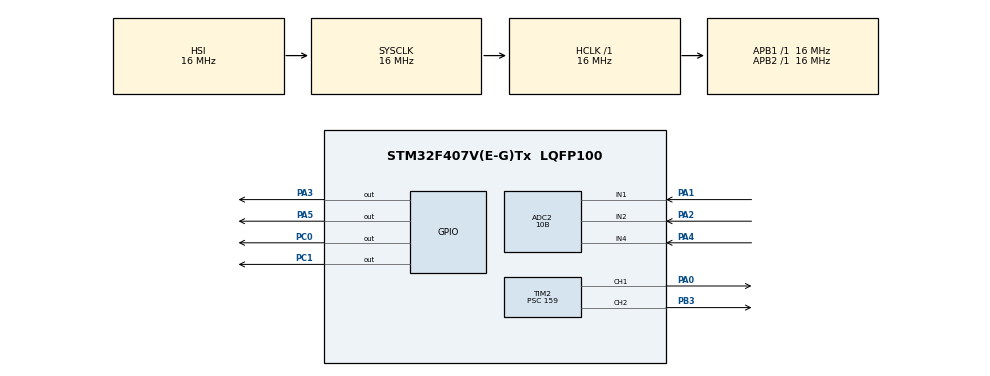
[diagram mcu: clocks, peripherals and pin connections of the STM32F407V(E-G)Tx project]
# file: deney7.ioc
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ADC2.Channel-0\#ChannelRegularConversion=ADC_CHANNEL_1
ADC2.Channel-1\#ChannelRegularConversion=ADC_CHANNEL_2
ADC2.Channel-2\#ChannelRegularConversion=ADC_CHANNEL_4
ADC2.ContinuousConvMode=ENABLE
ADC2.DMAContinuousRequests=ENABLE
ADC2.NbrOfConversion=3
ADC2.NbrOfConversionFlag=1
ADC2.Rank-0\#ChannelRegularConversion=1
ADC2.Rank-1\#ChannelRegularConversion=2
ADC2.Rank-2\#ChannelRegularConversion=3
ADC2.Resolution=ADC_RESOLUTION_10B
ADC2.SamplingTime-0\#ChannelRegularConversion=ADC_SAMPLETIME_480CYCLES
ADC2.SamplingTime-1\#ChannelRegularConversion=ADC_SAMPLETIME_480CYCLES
ADC2.SamplingTime-2\#ChannelRegularConversion=ADC_SAMPLETIME_480CYCLES
Mcu.Family=STM32F4
Mcu.Name=STM32F407V(E-G)Tx
Mcu.Package=LQFP100
NVIC.ADC_IRQn=true\:0\:0\:false\:false\:true\:true
NVIC.PriorityGroup=NVIC_PRIORITYGROUP_4
PA0-WKUP.Signal=S_TIM2_CH1_ETR
PA1.Signal=ADCx_IN1
PA2.Signal=ADCx_IN2
PA3.Signal=GPIO_Output
PA4.Signal=ADCx_IN4
PA5.Signal=GPIO_Output
PB3.Signal=S_TIM2_CH2
PC0.Signal=GPIO_Output
PC1.Signal=GPIO_Output
ProjectManager.HeapSize=0x200
ProjectManager.StackSize=0x400
ProjectManager.TargetToolchain=MDK-ARM V5
RCC.AHBFreq_Value=16000000
RCC.APB1Freq_Value=16000000
RCC.APB2Freq_Value=16000000
RCC.CortexFreq_Value=16000000
RCC.HSE_VALUE=25000000
RCC.HSI_VALUE=16000000
RCC.LSE_VALUE=32768
RCC.SYSCLKFreq_VALUE=16000000
RCC.VCOOutputFreq_Value=192000000
SH.ADCx_IN1.0=ADC2_IN1,IN1
SH.ADCx_IN2.0=ADC2_IN2,IN2
SH.ADCx_IN4.0=ADC2_IN4,IN4
SH.S_TIM2_CH1_ETR.0=TIM2_CH1,PWM Generation1 CH1
SH.S_TIM2_CH2.0=TIM2_CH2,PWM Generation2 CH2
TIM2.Channel-PWM\ Generation1\ CH1=TIM_CHANNEL_1
TIM2.Channel-PWM\ Generation2\ CH2=TIM_CHANNEL_2
TIM2.Period=99
TIM2.Prescaler=159
TIM2.Pulse-PWM\ Generation1\ CH1=100
TIM2.Pulse-PWM\ Generation2\ CH2=100
VP_TIM2_VS_ClockSourceINT.Mode=Internal
board=custom

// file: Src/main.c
/* USER CODE BEGIN Header */
/**
  ********** ********************************************************************
  * @file           : main.c
  * @brief          : Main program body
  ******************************************************************************
  ** This notice applies to any and all portions of this file
  * that are not between comment pairs USER CODE BEGIN and
  * USER CODE END. Other portions of this file, whether
  * inserted by the user or by software development tools
  * are owned by their respective copyright owners.
  *
  * COPYRIGHT(c) 2019 STMicroelectronics
  *
  * Redistribution and use in source and binary forms, with or without modification,
  * are permitted provided that the following conditions are met:
  *   1. Redistributions of source code must retain the above copyright notice,
  *      this list of conditions and the following disclaimer.
  *   2. Redistributions in binary form must reproduce the above copyright notice,
  *      this list of conditions and the following disclaimer in the documentation
  *      and/or other materials provided with the distribution.
  *   3. Neither the name of STMicroelectronics nor the names of its contributors
  *      may be used to endorse or promote products derived from this software
  *      without specific prior written permission.
  *
  * THIS SOFTWARE IS PROVIDED BY THE COPYRIGHT HOLDERS AND CONTRIBUTORS "AS IS"
  * AND ANY EXPRESS OR IMPLIED WARRANTIES, INCLUDING, BUT NOT LIMITED TO, THE
  * IMPLIED WARRANTIES OF MERCHANTABILITY AND FITNESS FOR A PARTICULAR PURPOSE ARE
  * DISCLAIMED. IN NO EVENT SHALL THE COPYRIGHT HOLDER OR CONTRIBUTORS BE LIABLE
  * FOR ANY DIRECT, INDIRECT, INCIDENTAL, SPECIAL, EXEMPLARY, OR CONSEQUENTIAL
  * DAMAGES (INCLUDING, BUT NOT LIMITED TO, PROCUREMENT OF SUBSTITUTE GOODS OR
  * SERVICES; LOSS OF USE, DATA, OR PROFITS; OR BUSINESS INTERRUPTION) HOWEVER
  * CAUSED AND ON ANY THEORY OF LIABILITY, WHETHER IN CONTRACT, STRICT LIABILITY,
  * OR TORT (INCLUDING NEGLIGENCE OR OTHERWISE) ARISING IN ANY WAY OUT OF THE USE
  * OF THIS SOFTWARE, EVEN IF ADVISED OF THE POSSIBILITY OF SUCH DAMAGE.
  *
  ******************************************************************************
  */
/* USER CODE END Header */

#include "main.h"

ADC_HandleTypeDef hadc2;

TIM_HandleTypeDef htim2;

/* USER CODE BEGIN PV */
uint16_t adc_valueRight;
uint16_t adc_valueLeft;
uint16_t adc_valueForword;
uint32_t adc_valueBackword;

int cnt=0;

	uint16_t adc_buffer1[3];
/* USER CODE END PV */

void SystemClock_Config(void);
static void MX_GPIO_Init(void);
static void MX_TIM2_Init(void);
static void MX_ADC2_Init(void);

/* USER CODE BEGIN 0 */
void ileri(int s){
TIM2->CCR1=s;
		TIM2->CCR2=s;

	HAL_GPIO_WritePin(GPIOA , GPIO_PIN_3 , GPIO_PIN_SET);
		HAL_GPIO_WritePin(GPIOA , GPIO_PIN_5 , GPIO_PIN_RESET);
	HAL_GPIO_WritePin(GPIOC , GPIO_PIN_0 , GPIO_PIN_SET);
		HAL_GPIO_WritePin(GPIOC , GPIO_PIN_1 , GPIO_PIN_RESET);

}
void geri(int s){
TIM2->CCR1=s;
	TIM2->CCR2=s;

	HAL_GPIO_WritePin(GPIOA , GPIO_PIN_3 , GPIO_PIN_RESET);
		HAL_GPIO_WritePin(GPIOA , GPIO_PIN_5 , GPIO_PIN_SET);
HAL_GPIO_WritePin(GPIOC , GPIO_PIN_0 , GPIO_PIN_RESET);
		HAL_GPIO_WritePin(GPIOC , GPIO_PIN_1 , GPIO_PIN_SET);
}
void dur(){
TIM2->CCR1=0;
	TIM2->CCR2=0;

	HAL_GPIO_WritePin(GPIOA , GPIO_PIN_3| GPIO_PIN_5 , GPIO_PIN_RESET);
	HAL_GPIO_WritePin(GPIOC , GPIO_PIN_0| GPIO_PIN_1 , GPIO_PIN_RESET);

}
void sol(int s){
TIM2->CCR2=0;
		TIM2->CCR1=s;

	HAL_GPIO_WritePin(GPIOA , GPIO_PIN_3 , GPIO_PIN_SET);
		HAL_GPIO_WritePin(GPIOA , GPIO_PIN_5 , GPIO_PIN_RESET);
		HAL_GPIO_WritePin(GPIOC , GPIO_PIN_0| GPIO_PIN_1 , GPIO_PIN_RESET);

}
void sag(int s){
TIM2->CCR2=s;
		TIM2->CCR1=0;

	HAL_GPIO_WritePin(GPIOC , GPIO_PIN_0 , GPIO_PIN_SET);
		HAL_GPIO_WritePin(GPIOC , GPIO_PIN_1 , GPIO_PIN_RESET);
		HAL_GPIO_WritePin(GPIOA , GPIO_PIN_3| GPIO_PIN_5 , GPIO_PIN_RESET);

}

void sag_geri(int s){
TIM3->CCR1=0;
		TIM2->CCR1=s;
HAL_GPIO_WritePin(GPIOA , GPIO_PIN_3, GPIO_PIN_RESET);
		HAL_GPIO_WritePin(GPIOA , GPIO_PIN_5 , GPIO_PIN_SET);

	HAL_GPIO_WritePin(GPIOC , GPIO_PIN_0| GPIO_PIN_1 , GPIO_PIN_RESET);

}
void sag_ileri(int s){
TIM3->CCR1=s;
		TIM2->CCR1=0;
HAL_GPIO_WritePin(GPIOC , GPIO_PIN_1, GPIO_PIN_RESET);
		HAL_GPIO_WritePin(GPIOC , GPIO_PIN_0 , GPIO_PIN_SET);

	HAL_GPIO_WritePin(GPIOA , GPIO_PIN_3| GPIO_PIN_5 , GPIO_PIN_RESET);

}
void sol_ileri(int s){
TIM3->CCR1=0;
		TIM2->CCR1=s;
HAL_GPIO_WritePin(GPIOA , GPIO_PIN_5, GPIO_PIN_RESET);
		HAL_GPIO_WritePin(GPIOA , GPIO_PIN_3 , GPIO_PIN_SET);

	HAL_GPIO_WritePin(GPIOC , GPIO_PIN_0| GPIO_PIN_1 , GPIO_PIN_RESET);

}
void sol_geri(int s){
TIM3->CCR1=s;
		TIM2->CCR1=0;
HAL_GPIO_WritePin(GPIOC , GPIO_PIN_0, GPIO_PIN_RESET);
		HAL_GPIO_WritePin(GPIOC , GPIO_PIN_1 , GPIO_PIN_SET);

	HAL_GPIO_WritePin(GPIOA , GPIO_PIN_3| GPIO_PIN_5 , GPIO_PIN_RESET);

}
int getMax( ){
int max=adc_buffer1[0];
	int index =0;
	for(int i = 0 ; i<4 ; i++){
		if(adc_buffer1[i]>max)
	index=i;
		}
return index;
}

/* USER CODE END 0 */

int main(void)
{

  /* MCU Configuration--------------------------------------------------------*/

  /* Reset of all peripherals, Initializes the Flash interface and the Systick. */
  HAL_Init();

  /* Configure the system clock */
  SystemClock_Config();

  /* Initialize all configured peripherals */
  MX_GPIO_Init();
  MX_TIM2_Init();
  MX_ADC2_Init();
  /* USER CODE BEGIN 2 */
		HAL_TIM_PWM_Start(&htim2 , TIM_CHANNEL_1);
		HAL_TIM_PWM_Start(&htim2 , TIM_CHANNEL_2);
		cnt=0;
		HAL_ADC_Start_IT(&hadc2);

  /* USER CODE END 2 */

  /* Infinite loop */
  while (1)
  {

    /* USER CODE BEGIN 3 */

			while(adc_buffer1[0]>320){
				ileri(100);
					HAL_Delay(200);
					dur();
					HAL_Delay(50);
				}

		while(adc_buffer1[1]>320){
		sag(50);
			HAL_Delay(50);
			dur();
			HAL_Delay(50);
		}

		while(adc_buffer1[2]>120){
		sol(50);
			HAL_Delay(50);
			dur();
			HAL_Delay(50);
		}
		 HAL_Delay(50);
		dur();
		HAL_Delay(200);

  }

  /* USER CODE END 3 */
}

void SystemClock_Config(void)
{
  RCC_OscInitTypeDef RCC_OscInitStruct = {0};
  RCC_ClkInitTypeDef RCC_ClkInitStruct = {0};

  /**Configure the main internal regulator output voltage
  */
  __HAL_RCC_PWR_CLK_ENABLE();
  __HAL_PWR_VOLTAGESCALING_CONFIG(PWR_REGULATOR_VOLTAGE_SCALE1);
  /**Initializes the CPU, AHB and APB busses clocks
  */
  RCC_OscInitStruct.OscillatorType = RCC_OSCILLATORTYPE_HSI;
  RCC_OscInitStruct.HSIState = RCC_HSI_ON;
  RCC_OscInitStruct.HSICalibrationValue = RCC_HSICALIBRATION_DEFAULT;
  RCC_OscInitStruct.PLL.PLLState = RCC_PLL_NONE;
  if (HAL_RCC_OscConfig(&RCC_OscInitStruct) != HAL_OK)
  {
    Error_Handler();
  }
  /**Initializes the CPU, AHB and APB busses clocks
  */
  RCC_ClkInitStruct.ClockType = RCC_CLOCKTYPE_HCLK|RCC_CLOCKTYPE_SYSCLK
                              |RCC_CLOCKTYPE_PCLK1|RCC_CLOCKTYPE_PCLK2;
  RCC_ClkInitStruct.SYSCLKSource = RCC_SYSCLKSOURCE_HSI;
  RCC_ClkInitStruct.AHBCLKDivider = RCC_SYSCLK_DIV1;
  RCC_ClkInitStruct.APB1CLKDivider = RCC_HCLK_DIV1;
  RCC_ClkInitStruct.APB2CLKDivider = RCC_HCLK_DIV1;

  if (HAL_RCC_ClockConfig(&RCC_ClkInitStruct, FLASH_LATENCY_0) != HAL_OK)
  {
    Error_Handler();
  }
}

static void MX_ADC2_Init(void)
{

  ADC_ChannelConfTypeDef sConfig = {0};

  /**Configure the global features of the ADC (Clock, Resolution, Data Alignment and number of conversion)
  */
  hadc2.Instance = ADC2;
  hadc2.Init.ClockPrescaler = ADC_CLOCK_SYNC_PCLK_DIV2;
  hadc2.Init.Resolution = ADC_RESOLUTION_10B;
  hadc2.Init.ScanConvMode = ENABLE;
  hadc2.Init.ContinuousConvMode = ENABLE;
  hadc2.Init.DiscontinuousConvMode = DISABLE;
  hadc2.Init.ExternalTrigConvEdge = ADC_EXTERNALTRIGCONVEDGE_NONE;
  hadc2.Init.ExternalTrigConv = ADC_SOFTWARE_START;
  hadc2.Init.DataAlign = ADC_DATAALIGN_RIGHT;
  hadc2.Init.NbrOfConversion = 3;
  hadc2.Init.DMAContinuousRequests = ENABLE;
  hadc2.Init.EOCSelection = ADC_EOC_SINGLE_CONV;
  if (HAL_ADC_Init(&hadc2) != HAL_OK)
  {
    Error_Handler();
  }
  /**Configure for the selected ADC regular channel its corresponding rank in the sequencer and its sample time.
  */
  sConfig.Channel = ADC_CHANNEL_1;
  sConfig.Rank = 1;
  sConfig.SamplingTime = ADC_SAMPLETIME_480CYCLES;
  if (HAL_ADC_ConfigChannel(&hadc2, &sConfig) != HAL_OK)
  {
    Error_Handler();
  }
  /**Configure for the selected ADC regular channel its corresponding rank in the sequencer and its sample time.
  */
  sConfig.Channel = ADC_CHANNEL_2;
  sConfig.Rank = 2;
  if (HAL_ADC_ConfigChannel(&hadc2, &sConfig) != HAL_OK)
  {
    Error_Handler();
  }
  /**Configure for the selected ADC regular channel its corresponding rank in the sequencer and its sample time.
  */
  sConfig.Channel = ADC_CHANNEL_4;
  sConfig.Rank = 3;
  if (HAL_ADC_ConfigChannel(&hadc2, &sConfig) != HAL_OK)
  {
    Error_Handler();
  }

}

static void MX_TIM2_Init(void)
{

  TIM_ClockConfigTypeDef sClockSourceConfig = {0};
  TIM_MasterConfigTypeDef sMasterConfig = {0};
  TIM_OC_InitTypeDef sConfigOC = {0};

  htim2.Instance = TIM2;
  htim2.Init.Prescaler = 159;
  htim2.Init.CounterMode = TIM_COUNTERMODE_UP;
  htim2.Init.Period = 99;
  htim2.Init.ClockDivision = TIM_CLOCKDIVISION_DIV1;
  if (HAL_TIM_Base_Init(&htim2) != HAL_OK)
  {
    Error_Handler();
  }
  sClockSourceConfig.ClockSource = TIM_CLOCKSOURCE_INTERNAL;
  if (HAL_TIM_ConfigClockSource(&htim2, &sClockSourceConfig) != HAL_OK)
  {
    Error_Handler();
  }
  if (HAL_TIM_PWM_Init(&htim2) != HAL_OK)
  {
    Error_Handler();
  }
  sMasterConfig.MasterOutputTrigger = TIM_TRGO_RESET;
  sMasterConfig.MasterSlaveMode = TIM_MASTERSLAVEMODE_DISABLE;
  if (HAL_TIMEx_MasterConfigSynchronization(&htim2, &sMasterConfig) != HAL_OK)
  {
    Error_Handler();
  }
  sConfigOC.OCMode = TIM_OCMODE_PWM1;
  sConfigOC.Pulse = 100;
  sConfigOC.OCPolarity = TIM_OCPOLARITY_HIGH;
  sConfigOC.OCFastMode = TIM_OCFAST_DISABLE;
  if (HAL_TIM_PWM_ConfigChannel(&htim2, &sConfigOC, TIM_CHANNEL_1) != HAL_OK)
  {
    Error_Handler();
  }
  if (HAL_TIM_PWM_ConfigChannel(&htim2, &sConfigOC, TIM_CHANNEL_2) != HAL_OK)
  {
    Error_Handler();
  }
  HAL_TIM_MspPostInit(&htim2);

}

static void MX_GPIO_Init(void)
{
  GPIO_InitTypeDef GPIO_InitStruct = {0};

  /* GPIO Ports Clock Enable */
  __HAL_RCC_GPIOC_CLK_ENABLE();
  __HAL_RCC_GPIOA_CLK_ENABLE();
  __HAL_RCC_GPIOB_CLK_ENABLE();

  /*Configure GPIO pin Output Level */
  HAL_GPIO_WritePin(GPIOC, GPIO_PIN_0|GPIO_PIN_1, GPIO_PIN_RESET);

  /*Configure GPIO pin Output Level */
  HAL_GPIO_WritePin(GPIOA, GPIO_PIN_3|GPIO_PIN_5, GPIO_PIN_RESET);

  /*Configure GPIO pins : PC0 PC1 */
  GPIO_InitStruct.Pin = GPIO_PIN_0|GPIO_PIN_1;
  GPIO_InitStruct.Mode = GPIO_MODE_OUTPUT_PP;
  GPIO_InitStruct.Pull = GPIO_NOPULL;
  GPIO_InitStruct.Speed = GPIO_SPEED_FREQ_LOW;
  HAL_GPIO_Init(GPIOC, &GPIO_InitStruct);

  /*Configure GPIO pins : PA3 PA5 */
  GPIO_InitStruct.Pin = GPIO_PIN_3|GPIO_PIN_5;
  GPIO_InitStruct.Mode = GPIO_MODE_OUTPUT_PP;
  GPIO_InitStruct.Pull = GPIO_NOPULL;
  GPIO_InitStruct.Speed = GPIO_SPEED_FREQ_LOW;
  HAL_GPIO_Init(GPIOA, &GPIO_InitStruct);

}

void Error_Handler(void)
{
}

/************************ (C) COPYRIGHT STMicroelectronics *****END OF FILE****/
